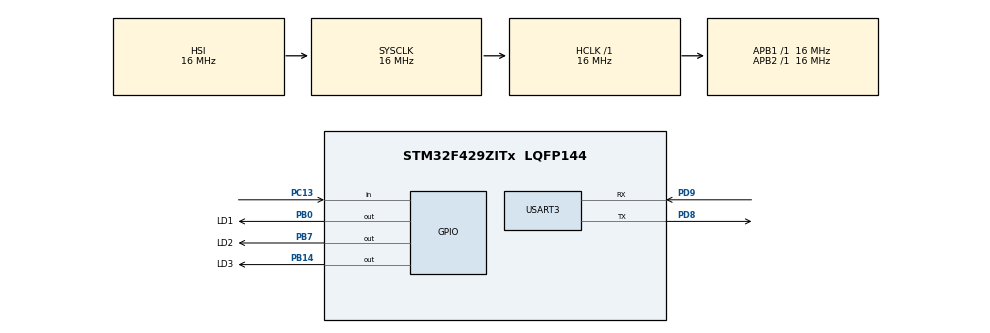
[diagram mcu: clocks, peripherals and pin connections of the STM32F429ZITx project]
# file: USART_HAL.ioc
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Mcu.Family=STM32F4
Mcu.Name=STM32F429ZITx
Mcu.Package=LQFP144
NVIC.PriorityGroup=NVIC_PRIORITYGROUP_4
NVIC.USART3_IRQn=true\:0\:0\:false\:true\:true\:1\:true\:true\:true
PB0.GPIO_Label=LD1
PB0.Signal=GPIO_Output
PB14.GPIO_Label=LD3
PB14.Signal=GPIO_Output
PB7.GPIO_Label=LD2
PB7.Signal=GPIO_Output
PC13.Signal=GPIO_Input
PD8.Mode=Asynchronous
PD8.Signal=USART3_TX
PD9.Mode=Asynchronous
PD9.Signal=USART3_RX
ProjectManager.HeapSize=0x200
ProjectManager.StackSize=0x400
ProjectManager.TargetToolchain=STM32CubeIDE
RCC.AHBFreq_Value=16000000
RCC.APB1Freq_Value=16000000
RCC.APB2Freq_Value=16000000
RCC.CortexFreq_Value=16000000
RCC.HSE_VALUE=25000000
RCC.HSI_VALUE=16000000
RCC.LSE_VALUE=32768
RCC.SYSCLKFreq_VALUE=16000000
RCC.VCOOutputFreq_Value=192000000
USART3.VirtualMode=VM_ASYNC
board=custom

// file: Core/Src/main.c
/* USER CODE BEGIN Header */
/**
  ******************************************************************************
  * @file           : main.c
  * @brief          : Main program body
  ******************************************************************************
  * @attention
  *
  * <h2><center>&copy; Copyright (c) 2021 STMicroelectronics.
  * All rights reserved.</center></h2>
  *
  * This software component is licensed by ST under BSD 3-Clause license,
  * the "License"; You may not use this file except in compliance with the
  * License. You may obtain a copy of the License at:
  *                        opensource.org/licenses/BSD-3-Clause
  *
  ******************************************************************************
  */
/* USER CODE END Header */
#include "main.h"
#include "usart.h"
#include "gpio.h"

/* USER CODE BEGIN Includes */
#include <string.h>
/* USER CODE END Includes */

void SystemClock_Config(void);
static void MX_NVIC_Init(void);

/* USER CODE BEGIN 0 */
extern UART_HandleTypeDef huart3;
uint8_t rx_data, rx_complete = 0;
uint8_t rx_index = 0, rx_buf[20];
uint8_t led[3] = {0,0,0};
uint32_t blink_time = 0;

/* USER CODE END 0 */

int main(void)
{

  /* MCU Configuration--------------------------------------------------------*/

  /* Reset of all peripherals, Initializes the Flash interface and the Systick. */
  HAL_Init();

  /* Configure the system clock */
  SystemClock_Config();

  /* Initialize all configured peripherals */
  MX_GPIO_Init();
  MX_USART3_UART_Init();

  /* Initialize interrupts */
  MX_NVIC_Init();
  /* USER CODE BEGIN 2 */

  HAL_UART_Receive_IT(&huart3, &rx_data, 1);
  /* USER CODE END 2 */

  /* Infinite loop */
  while (1)
  {

    /* USER CODE BEGIN 3 */
//	  cur_time = HAL_GetTick();
//
	  if(rx_complete == 1){
		  rx_complete = 0;

		  if(strstr((char*)rx_buf, "LED") != 0){
			  if(rx_buf[3] == '1'){
				  if(rx_buf[4] == '0') HAL_GPIO_WritePin(GPIOB, LD1_Pin, 0);
				  else if(rx_buf[4] == '1') HAL_GPIO_WritePin(GPIOB, LD1_Pin, 1);

				  led[0] = rx_buf[4] - '0';
			  }
			  else if(rx_buf[3] == '2') {
				  if(rx_buf[4] == '0') HAL_GPIO_WritePin(GPIOB, LD2_Pin, 0);
				  else if(rx_buf[4] == '1') HAL_GPIO_WritePin(GPIOB, LD2_Pin, 1);

				  led[1] = rx_buf[4] - '0';
			  }
			  else if(rx_buf[3] == '3') {
				  if(rx_buf[4] == '0') HAL_GPIO_WritePin(GPIOB, LD3_Pin, 0);
				  else if(rx_buf[4] == '1') HAL_GPIO_WritePin(GPIOB, LD3_Pin, 1);

				  led[2] = rx_buf[4] - '0';
			  }
			  else if(rx_buf[3] == 'A'){
				  if(rx_buf[4] == '0') HAL_GPIO_WritePin(GPIOB, LD1_Pin | LD2_Pin | LD3_Pin, 0);
				  else if(rx_buf[4] == '1') HAL_GPIO_WritePin(GPIOB, LD1_Pin | LD2_Pin | LD3_Pin, 1);
			  }
		  }
		  else if(strstr((char*)rx_buf, "BLK") != 0){
			  blink_time = (rx_buf[3] - '0') * 500;
		  }

	  }

  }
  /* USER CODE END 3 */
}

void SystemClock_Config(void)
{
  RCC_OscInitTypeDef RCC_OscInitStruct = {0};
  RCC_ClkInitTypeDef RCC_ClkInitStruct = {0};

  /** Configure the main internal regulator output voltage
  */
  __HAL_RCC_PWR_CLK_ENABLE();
  __HAL_PWR_VOLTAGESCALING_CONFIG(PWR_REGULATOR_VOLTAGE_SCALE3);

  /** Initializes the RCC Oscillators according to the specified parameters
  * in the RCC_OscInitTypeDef structure.
  */
  RCC_OscInitStruct.OscillatorType = RCC_OSCILLATORTYPE_HSI;
  RCC_OscInitStruct.HSIState = RCC_HSI_ON;
  RCC_OscInitStruct.HSICalibrationValue = RCC_HSICALIBRATION_DEFAULT;
  RCC_OscInitStruct.PLL.PLLState = RCC_PLL_NONE;
  if (HAL_RCC_OscConfig(&RCC_OscInitStruct) != HAL_OK)
  {
    Error_Handler();
  }

  /** Initializes the CPU, AHB and APB buses clocks
  */
  RCC_ClkInitStruct.ClockType = RCC_CLOCKTYPE_HCLK|RCC_CLOCKTYPE_SYSCLK
                              |RCC_CLOCKTYPE_PCLK1|RCC_CLOCKTYPE_PCLK2;
  RCC_ClkInitStruct.SYSCLKSource = RCC_SYSCLKSOURCE_HSI;
  RCC_ClkInitStruct.AHBCLKDivider = RCC_SYSCLK_DIV1;
  RCC_ClkInitStruct.APB1CLKDivider = RCC_HCLK_DIV1;
  RCC_ClkInitStruct.APB2CLKDivider = RCC_HCLK_DIV1;

  if (HAL_RCC_ClockConfig(&RCC_ClkInitStruct, FLASH_LATENCY_0) != HAL_OK)
  {
    Error_Handler();
  }
}

/**
  * @brief NVIC Configuration.
  * @retval None
  */
static void MX_NVIC_Init(void)
{
  /* USART3_IRQn interrupt configuration */
  HAL_NVIC_SetPriority(USART3_IRQn, 0, 0);
  HAL_NVIC_EnableIRQ(USART3_IRQn);
}

/* USER CODE BEGIN 4 */
void HAL_UART_RxCpltCallback(UART_HandleTypeDef *huart)
{
	if(huart->Instance == USART3){
		uint8_t ch;

		ch = rx_data;

		if(ch == '\n' || ch == '\r'){
			rx_buf[rx_index] = 0;
			rx_index = 0;
			rx_complete = 1;

			char *str = "\r\n>> ";
			HAL_UART_Transmit_IT(&huart3, (uint8_t *)str, strlen(str));
			//char *str1 = "aaaaaaaaaaaa";
			//HAL_UART_Transmit_IT(&huart3, (uint8_t *)str1, strlen(str1));
		}
		else if(ch == '\b'){
			if(rx_index != 0){
				rx_index--;
				char *str = "\b \b";
				HAL_UART_Transmit_IT(&huart3, (uint8_t *)str, strlen(str));
			}
		}
		else {
			rx_buf[rx_index++] = ch;
			HAL_UART_Transmit_IT(&huart3, &ch, 1);
		}

		HAL_UART_Receive_IT(&huart3, &rx_data, 1);
	}
}
/* USER CODE END 4 */

void Error_Handler(void)
{
  __disable_irq();
  while (1)
  {
  }
}
